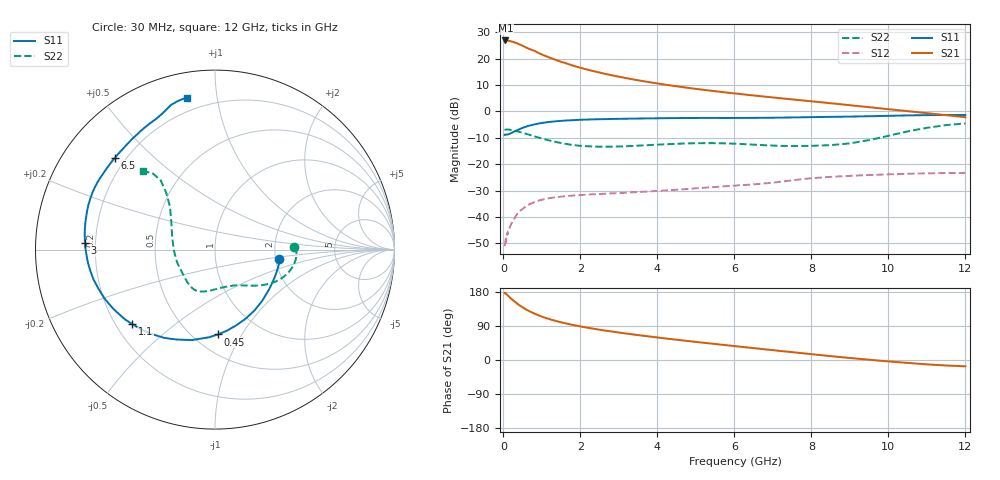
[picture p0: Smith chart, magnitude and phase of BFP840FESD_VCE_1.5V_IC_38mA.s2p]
! Infineon Technologies  Discrete & RF Semiconductors
! BFP840FESD
! VCE =  1.5 V,  IC =  38 mA
! Common Emitter S-Parameters:  May 2012
# GHz  S  MA  R  50
!  f  S11  S21  S12  S22
! GHz  MAG  ANG  MAG  ANG  MAG  ANG  MAG  ANG
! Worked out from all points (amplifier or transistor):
!   103 points, 30 MHz to 12 GHz, reference 50 ohm
!   highest |S21| = 26.9 dB at 50 MHz (marker M1)
!   |S21| within 3 dB of that: start of sweep to 638.3 MHz
!   unconditionally stable (mu >= 1): start of sweep to end of sweep
!   at 400 MHz: K = 1.44, MAG = 27.9 dB, |S12| = -38.3 dB
!   at 3.7 GHz: K = 1.84, MAG = 15.6 dB, |S12| = -30.4 dB
!   at 12 GHz: K = 1.98, MAG = 4.9 dB, |S12| = -23.3 dB
!   S11 on the Smith chart (normalised r, x): 30 MHz: 2.09, -0.25; 450 MHz: 0.65, -0.79; 1.1 GHz: 0.27, -0.36; 3 GHz: 0.16, +0.02; 6.5 GHz: 0.16, +0.38; 12 GHz: 0.13, +0.83
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0.03  0.3603 -8.2  22.16 176.7  0.0028 42.3  0.4407 1.6
0.04  0.3598 -10.6  22.06 175.8  0.0031 45.1  0.4466 0.6
0.05  0.3648 -12.9  22.18 176.5  0.0033 50.0  0.4499 -0.1
0.13  0.37 -32.2  21.92 168.6  0.0053 51.6  0.4534 -6.4
0.25  0.4045 -57.2  20.82 157.6  0.0085 53.9  0.44 -13.7
0.35  0.4376 -74.1  19.73 149.4  0.0112 55.0  0.4222 -18.8
0.45  0.4728 -87.9  18.25 142.2  0.0134 52.3  0.4031 -23.4
0.6  0.5205 -104.4  16.15 132.7  0.0162 49.2  0.375 -29.1
0.7  0.5447 -113.1  15.02 127.4  0.0178 46.8  0.3559 -32.4
0.8  0.5677 -120.0  14.15 122.7  0.0191 44.8  0.3379 -35.5
0.9  0.588 -127.0  12.96 118.3  0.0203 42.9  0.3218 -38.2
1.1  0.6203 -137.9  11.19 110.9  0.022 39.6  0.2935 -43.2
1.3  0.6449 -146.3  9.843 104.7  0.0234 36.9  0.2702 -47.7
1.5  0.6642 -153.2  8.713 99.5  0.0244 35.2  0.252 -52.3
2.1  0.7004 -168.2  6.434 86.7  0.0264 32.1  0.2214 -66.1
3  0.7255 177.1  4.559 72.5  0.0285 32.4  0.2172 -84.5
4.1  0.745 162.9  3.315 58.2  0.0315 35.3  0.237 -101.7
6.1  0.7544 141.8  2.163 35.7  0.0398 39.6  0.2432 -126.1
6.5  0.7566 137.3  2.013 31.3  0.0417 40.4  0.235 -132.4
8.5  0.7909 117.4  1.433 10.2  0.0577 36.7  0.2302 179.9
10.5  0.8422 107.0  1.014 -7.7  0.0661 27.9  0.4195 130.5
12  0.8584 100.4  0.779 -16.7  0.0684 24.2  0.594 132.8
